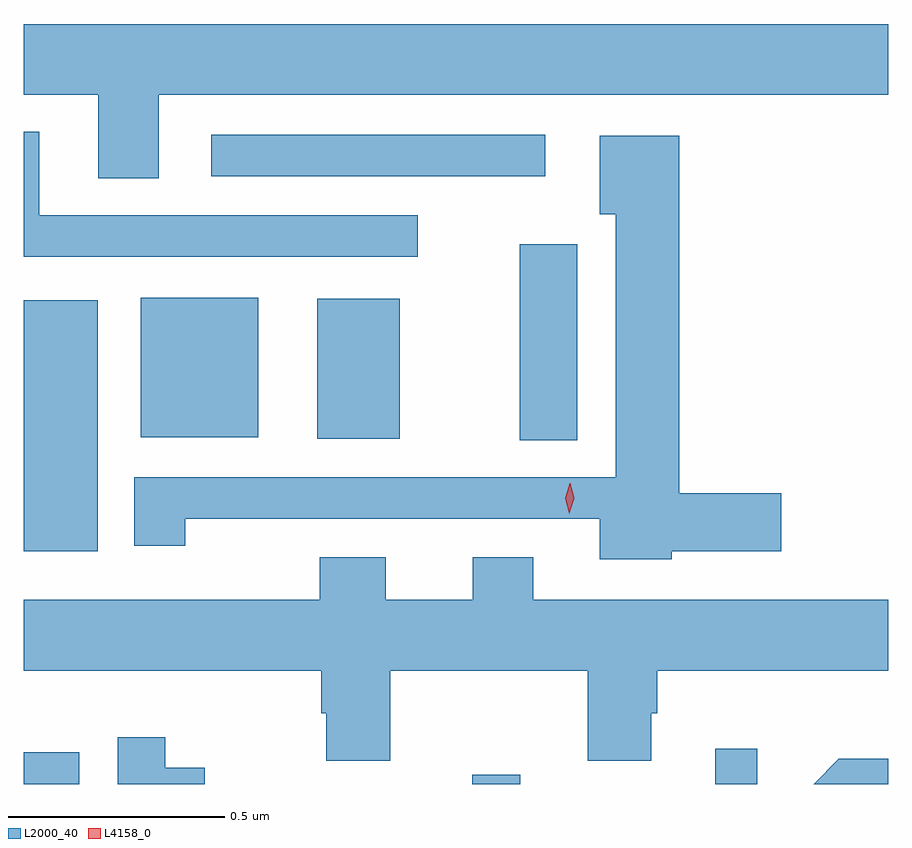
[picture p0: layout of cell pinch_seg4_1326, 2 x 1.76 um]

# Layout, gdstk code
import gdstk
lib = gdstk.Library(unit=1e-6, precision=1e-09)
def R(c, l, rs):  # rectangles x0, y0, x1, y1
    for r in rs: c.add(gdstk.rectangle(r[:2], r[2:], *l))
def P(c, l, *ps):  # polygons
    for p in ps: c.add(gdstk.Polygon(p, *l))
L2000_40 = (2000, 40)
L4158_0 = (4158, 0)

pinch_seg4_1326 = lib.new_cell('pinch_seg4_1326')
R(pinch_seg4_1326, L2000_40, [(354.679,775.246,354.807,775.32), (355.717,775.246,355.828,775.267), (356.279,775.246,356.376,775.327), (354.679,775.784,354.85,776.365), (355.826,776.041,355.96,776.494), (355.358,776.045,355.549,776.368), (354.95,776.048,355.222,776.371), (355.113,776.652,355.885,776.748)])
P(pinch_seg4_1326, L2000_40, [(354.991,776.84),(356.679,776.84),(356.679,777.004),(354.679,777.004),(354.679,776.84),(354.851,776.84),(354.851,776.647),(354.991,776.647)],
  [(355.591,776.562),(354.715,776.562),(354.715,776.755),(354.679,776.755),(354.679,776.466),(355.591,776.466)],
  [(356.178,775.784),(356.431,775.784),(356.431,775.919),(356.195,775.919),(356.195,776.746),(356.012,776.746),(356.012,776.564),(356.048,776.564),(356.048,775.956),(354.935,775.956),(354.935,775.797),(355.053,775.797),(355.053,775.859),(355.28,775.859),(355.28,775.86),(356.012,775.86),(356.012,775.766),(356.178,775.766)],
  [(355.527,775.508),(355.984,775.508),(355.984,775.3),(356.131,775.3),(356.131,775.41),(356.144,775.41),(356.144,775.508),(356.679,775.508),(356.679,775.672),(355.858,775.672),(355.858,775.771),(355.718,775.771),(355.718,775.672),(355.516,775.672),(355.516,775.771),(355.364,775.771),(355.364,775.672),(354.679,775.672),(354.679,775.508),(355.367,775.508),(355.367,775.41),(355.379,775.41),(355.379,775.3),(355.527,775.3)],
  [(355.098,775.284),(355.006,775.284),(355.006,775.354),(354.897,775.354),(354.897,775.246),(355.098,775.246)],
  [(356.679,775.304),(356.564,775.304),(356.506,775.246),(356.679,775.246)])
P(pinch_seg4_1326, L4158_0, [(355.941,775.871),(355.941,775.872),(355.932,775.907),(355.942,775.942),(355.943,775.942),(355.943,775.942),(355.952,775.907),(355.941,775.872)])

lib.write_gds('pinch_seg4_1326.gds')
